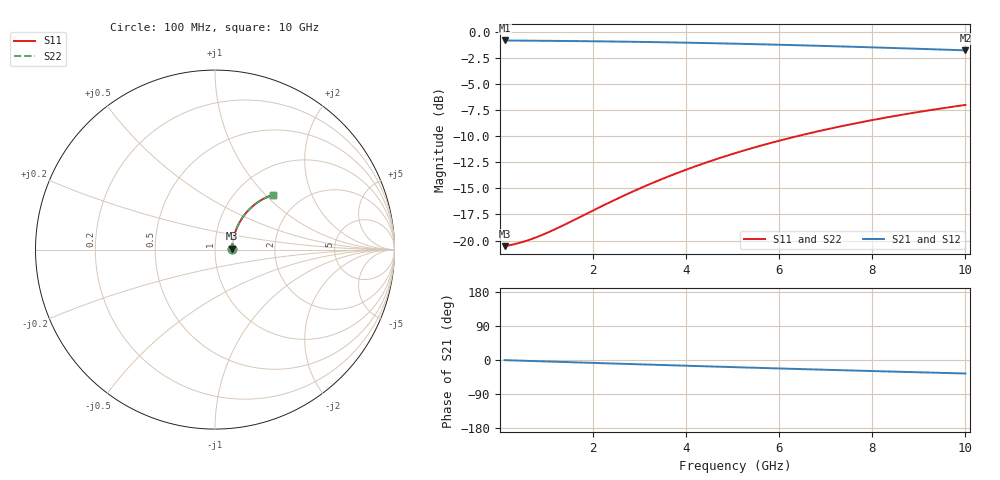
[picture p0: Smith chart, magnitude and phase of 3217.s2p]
# Hz S RI R 50.00
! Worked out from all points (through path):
!   100 points, 100 MHz to 10 GHz, reference 50 ohm
!   highest |S21| = -0.86 dB at 100 MHz (marker M1); lowest = -1.8 dB at 10 GHz (marker M2)
!   group delay of S21, straight-line fit = 9.92 ps
!   lowest |S11| = -20.5 dB at 100 MHz (marker M3), VSWR 1.21, Z = 60.4 + j0.538 ohm
!   |S11| at or under -10 dB: start of sweep to 6.401 GHz
!   |S22| runs from -20.5 to -7.0 dB; largest |S21 - S12| = 0
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1e8  0.0939 0.00442  0.9061 -0.00607  0.9061 -0.00607  0.0939 0.00442
3e8  0.0951 0.0132  0.9049 -0.0182  0.9049 -0.0182  0.0951 0.0132
5e8  0.0962 0.022  0.9038 -0.0303  0.9038 -0.0303  0.0962 0.022
8e8  0.098 0.035  0.9019 -0.0483  0.9019 -0.0483  0.098 0.035
1e9  0.0994 0.0437  0.9004 -0.0603  0.9004 -0.0603  0.0994 0.0437
1.2e9  0.101 0.0523  0.8988 -0.0722  0.8988 -0.0722  0.101 0.0523
1.8e9  0.107 0.0778  0.8925 -0.1076  0.8925 -0.1076  0.107 0.0778
2.3e9  0.1133 0.0985  0.8859 -0.1366  0.8859 -0.1366  0.1133 0.0985
2.7e9  0.1193 0.1147  0.8796 -0.1594  0.8796 -0.1594  0.1193 0.1147
3.1e9  0.1261 0.1304  0.8725 -0.1818  0.8725 -0.1818  0.1261 0.1304
3.4e9  0.1317 0.1419  0.8666 -0.1983  0.8666 -0.1983  0.1317 0.1419
3.8e9  0.1397 0.1568  0.8582 -0.2198  0.8582 -0.2198  0.1397 0.1568
4.2e9  0.1485 0.1712  0.8489 -0.2409  0.8489 -0.2409  0.1485 0.1712
4.6e9  0.1579 0.185  0.839 -0.2613  0.839 -0.2613  0.1579 0.185
5.1e9  0.1704 0.2013  0.8258 -0.286  0.8258 -0.286  0.1704 0.2013
5.5e9  0.1811 0.2137  0.8145 -0.3051  0.8145 -0.3051  0.1811 0.2137
5.9e9  0.1923 0.2254  0.8026 -0.3235  0.8026 -0.3235  0.1923 0.2254
6.7e9  0.2159 0.2468  0.7775 -0.3583  0.7775 -0.3583  0.2159 0.2468
7.5e9  0.241 0.2654  0.7508 -0.3904  0.7508 -0.3904  0.241 0.2654
8.4e9  0.2704 0.2829  0.7193 -0.4231  0.7193 -0.4231  0.2704 0.2829
9.2e9  0.2972 0.2955  0.6903 -0.4493  0.6903 -0.4493  0.2972 0.2955
1e10  0.3243 0.3054  0.6609 -0.4728  0.6609 -0.4728  0.3243 0.3054
